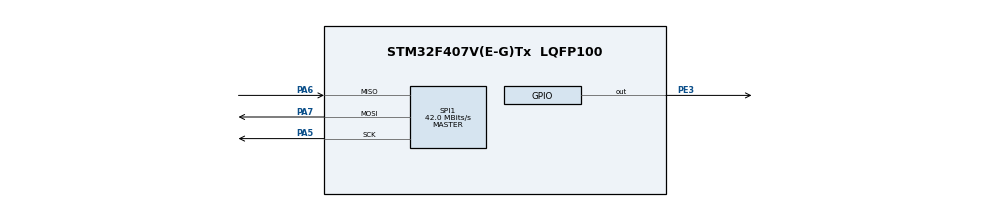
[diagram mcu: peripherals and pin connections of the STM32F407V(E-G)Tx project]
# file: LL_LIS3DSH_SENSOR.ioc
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Mcu.Family=STM32F4
Mcu.Name=STM32F407V(E-G)Tx
Mcu.Package=LQFP100
NVIC.PriorityGroup=NVIC_PRIORITYGROUP_4
PA5.Mode=Full_Duplex_Master
PA5.Signal=SPI1_SCK
PA6.Mode=Full_Duplex_Master
PA6.Signal=SPI1_MISO
PA7.Mode=Full_Duplex_Master
PA7.Signal=SPI1_MOSI
PE3.GPIO_Speed=GPIO_SPEED_FREQ_VERY_HIGH
PE3.Signal=GPIO_Output
PH0-OSC_IN.Mode=HSE-External-Oscillator
PH0-OSC_IN.Signal=RCC_OSC_IN
PH1-OSC_OUT.Mode=HSE-External-Oscillator
PH1-OSC_OUT.Signal=RCC_OSC_OUT
ProjectManager.HeapSize=0x200
ProjectManager.StackSize=0x400
ProjectManager.TargetToolchain=STM32CubeIDE
RCC.48MHZClocksFreq_Value=84000000
RCC.AHBFreq_Value=168000000
RCC.APB1CLKDivider=RCC_HCLK_DIV4
RCC.APB1Freq_Value=42000000
RCC.APB1TimFreq_Value=84000000
RCC.APB2CLKDivider=RCC_HCLK_DIV2
RCC.APB2Freq_Value=84000000
RCC.APB2TimFreq_Value=168000000
RCC.CortexFreq_Value=168000000
RCC.HCLKFreq_Value=168000000
RCC.HSE_VALUE=8000000
RCC.HSI_VALUE=16000000
RCC.LSE_VALUE=32768
RCC.PLLM=4
RCC.PLLN=168
RCC.PLLSourceVirtual=RCC_PLLSOURCE_HSE
RCC.SYSCLKFreq_VALUE=168000000
RCC.SYSCLKSource=RCC_SYSCLKSOURCE_PLLCLK
RCC.VCOOutputFreq_Value=336000000
SPI1.CLKPhase=SPI_PHASE_2EDGE
SPI1.CLKPolarity=SPI_POLARITY_HIGH
SPI1.CalculateBaudRate=42.0 MBits/s
SPI1.Direction=SPI_DIRECTION_2LINES
SPI1.Mode=SPI_MODE_MASTER
SPI1.VirtualType=VM_MASTER
board=custom

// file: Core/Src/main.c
/* USER CODE BEGIN Header */
/**
  ******************************************************************************
  * @file           : main.c
  * @brief          : Main program body
  ******************************************************************************
  * @attention
  *
  * Copyright (c) 2024 STMicroelectronics.
  * All rights reserved.
  *
  * This software is licensed under terms that can be found in the LICENSE file
  * in the root directory of this software component.
  * If no LICENSE file comes with this software, it is provided AS-IS.
  *
  ******************************************************************************
  */
/* USER CODE END Header */
#include "main.h"

void SystemClock_Config(void);
static void MX_GPIO_Init(void);
static void MX_SPI1_Init(void);

/* USER CODE BEGIN 0 */

uint8_t x_address=0x29, y_address=0x2B, z_adress=0X2D; //x,y,z data addresses
uint8_t x,y,z; //variables to hold x,y,z values

void spi_write(uint8_t address, uint8_t data)
{
	LL_GPIO_ResetOutputPin(GPIOE, LL_GPIO_PIN_3); //spi communication is started when enable pin is reset
	while(!LL_SPI_IsActiveFlag_TXE(SPI1)); //Tx buffer empty flag
	LL_SPI_TransmitData8(SPI1, address); //the register address is sent
	while(LL_SPI_IsActiveFlag_BSY(SPI1)); //spi busy flag
	while(!LL_SPI_IsActiveFlag_TXE(SPI1));
	LL_SPI_TransmitData8(SPI1, data); //the data that will written on the register whose address is given
	while(LL_SPI_IsActiveFlag_BSY(SPI1));
	LL_GPIO_SetOutputPin(GPIOE, LL_GPIO_PIN_3); //spi communication is finalized
}

uint8_t spi_read(uint8_t address, uint8_t data)
{
	uint8_t returned_value=0; //local variable to return value
	LL_GPIO_ResetOutputPin(GPIOE, LL_GPIO_PIN_3); //spi communication is started
	address=address|0x80; //it starts read mode
	while(!LL_SPI_IsActiveFlag_TXE(SPI1)); //Tx buffer empty flag
	LL_SPI_TransmitData8(SPI1, address); //the related register address is sent
	while(LL_SPI_IsActiveFlag_BSY(SPI1)); //spi busy flag
	while(!LL_SPI_IsActiveFlag_RXNE(SPI1)); //rx buffer empty flag
	returned_value=LL_SPI_ReceiveData8(SPI1); //the data is taken from the register whose address is sent
	while(LL_SPI_IsActiveFlag_BSY(SPI1));
	while(!LL_SPI_IsActiveFlag_TXE(SPI1));
	LL_SPI_TransmitData8(SPI1, data); //new data is sent
	while(LL_SPI_IsActiveFlag_BSY(SPI1));
	LL_GPIO_SetOutputPin(GPIOE, LL_GPIO_PIN_3); //spi communication is finalized
	return returned_value;
}
/* USER CODE END 0 */

int main(void)
{

  /* MCU Configuration--------------------------------------------------------*/

  /* Reset of all peripherals, Initializes the Flash interface and the Systick. */
  LL_APB2_GRP1_EnableClock(LL_APB2_GRP1_PERIPH_SYSCFG);
  LL_APB1_GRP1_EnableClock(LL_APB1_GRP1_PERIPH_PWR);

  /* System interrupt init*/
  NVIC_SetPriorityGrouping(NVIC_PRIORITYGROUP_4);

  /* SysTick_IRQn interrupt configuration */
  NVIC_SetPriority(SysTick_IRQn, NVIC_EncodePriority(NVIC_GetPriorityGrouping(),15, 0));

  /* Configure the system clock */
  SystemClock_Config();

  /* Initialize all configured peripherals */
  MX_GPIO_Init();
  MX_SPI1_Init();
  /* USER CODE BEGIN 2 */
  LL_SPI_Enable(SPI1);
  spi_write(0x20, 0x67); //control register address and control data for control parameters
  spi_write(0x24, 0x18); //control register address and control data for control parameters

  /* USER CODE END 2 */

  /* Infinite loop */
  while (1)
  {

    /* USER CODE BEGIN 3 */
	  x=spi_read(x_address, 0x00); //0x00 is sent to reset the x value for continious measurement
	  y=spi_read(y_address, 0x00);
	  z=spi_read(z_adress, 0x00);
  }
  /* USER CODE END 3 */
}

void SystemClock_Config(void)
{
  LL_FLASH_SetLatency(LL_FLASH_LATENCY_5);
  while(LL_FLASH_GetLatency()!= LL_FLASH_LATENCY_5)
  {
  }
  LL_PWR_SetRegulVoltageScaling(LL_PWR_REGU_VOLTAGE_SCALE1);
  LL_RCC_HSE_Enable();

   /* Wait till HSE is ready */
  while(LL_RCC_HSE_IsReady() != 1)
  {

  }
  LL_RCC_PLL_ConfigDomain_SYS(LL_RCC_PLLSOURCE_HSE, LL_RCC_PLLM_DIV_4, 168, LL_RCC_PLLP_DIV_2);
  LL_RCC_PLL_Enable();

   /* Wait till PLL is ready */
  while(LL_RCC_PLL_IsReady() != 1)
  {

  }
  while (LL_PWR_IsActiveFlag_VOS() == 0)
  {
  }
  LL_RCC_SetAHBPrescaler(LL_RCC_SYSCLK_DIV_1);
  LL_RCC_SetAPB1Prescaler(LL_RCC_APB1_DIV_4);
  LL_RCC_SetAPB2Prescaler(LL_RCC_APB2_DIV_2);
  LL_RCC_SetSysClkSource(LL_RCC_SYS_CLKSOURCE_PLL);

   /* Wait till System clock is ready */
  while(LL_RCC_GetSysClkSource() != LL_RCC_SYS_CLKSOURCE_STATUS_PLL)
  {

  }
  LL_Init1msTick(168000000);
  LL_SetSystemCoreClock(168000000);
}

static void MX_SPI1_Init(void)
{

  LL_SPI_InitTypeDef SPI_InitStruct = {0};

  LL_GPIO_InitTypeDef GPIO_InitStruct = {0};

  /* Peripheral clock enable */
  LL_APB2_GRP1_EnableClock(LL_APB2_GRP1_PERIPH_SPI1);

  LL_AHB1_GRP1_EnableClock(LL_AHB1_GRP1_PERIPH_GPIOA);
  /**SPI1 GPIO Configuration
  PA5   ------> SPI1_SCK
  PA6   ------> SPI1_MISO
  PA7   ------> SPI1_MOSI
  */
  GPIO_InitStruct.Pin = LL_GPIO_PIN_5|LL_GPIO_PIN_6|LL_GPIO_PIN_7;
  GPIO_InitStruct.Mode = LL_GPIO_MODE_ALTERNATE;
  GPIO_InitStruct.Speed = LL_GPIO_SPEED_FREQ_VERY_HIGH;
  GPIO_InitStruct.OutputType = LL_GPIO_OUTPUT_PUSHPULL;
  GPIO_InitStruct.Pull = LL_GPIO_PULL_NO;
  GPIO_InitStruct.Alternate = LL_GPIO_AF_5;
  LL_GPIO_Init(GPIOA, &GPIO_InitStruct);

  /* SPI1 parameter configuration*/
  SPI_InitStruct.TransferDirection = LL_SPI_FULL_DUPLEX;
  SPI_InitStruct.Mode = LL_SPI_MODE_MASTER;
  SPI_InitStruct.DataWidth = LL_SPI_DATAWIDTH_8BIT;
  SPI_InitStruct.ClockPolarity = LL_SPI_POLARITY_HIGH;
  SPI_InitStruct.ClockPhase = LL_SPI_PHASE_2EDGE;
  SPI_InitStruct.NSS = LL_SPI_NSS_SOFT;
  SPI_InitStruct.BaudRate = LL_SPI_BAUDRATEPRESCALER_DIV2;
  SPI_InitStruct.BitOrder = LL_SPI_MSB_FIRST;
  SPI_InitStruct.CRCCalculation = LL_SPI_CRCCALCULATION_DISABLE;
  SPI_InitStruct.CRCPoly = 10;
  LL_SPI_Init(SPI1, &SPI_InitStruct);
  LL_SPI_SetStandard(SPI1, LL_SPI_PROTOCOL_MOTOROLA);

}

static void MX_GPIO_Init(void)
{
  LL_GPIO_InitTypeDef GPIO_InitStruct = {0};

  /* GPIO Ports Clock Enable */
  LL_AHB1_GRP1_EnableClock(LL_AHB1_GRP1_PERIPH_GPIOE);
  LL_AHB1_GRP1_EnableClock(LL_AHB1_GRP1_PERIPH_GPIOH);
  LL_AHB1_GRP1_EnableClock(LL_AHB1_GRP1_PERIPH_GPIOA);

  /**/
  LL_GPIO_ResetOutputPin(GPIOE, LL_GPIO_PIN_3);

  /**/
  GPIO_InitStruct.Pin = LL_GPIO_PIN_3;
  GPIO_InitStruct.Mode = LL_GPIO_MODE_OUTPUT;
  GPIO_InitStruct.Speed = LL_GPIO_SPEED_FREQ_VERY_HIGH;
  GPIO_InitStruct.OutputType = LL_GPIO_OUTPUT_PUSHPULL;
  GPIO_InitStruct.Pull = LL_GPIO_PULL_NO;
  LL_GPIO_Init(GPIOE, &GPIO_InitStruct);

}

void Error_Handler(void)
{
  __disable_irq();
  while (1)
  {
  }
}
